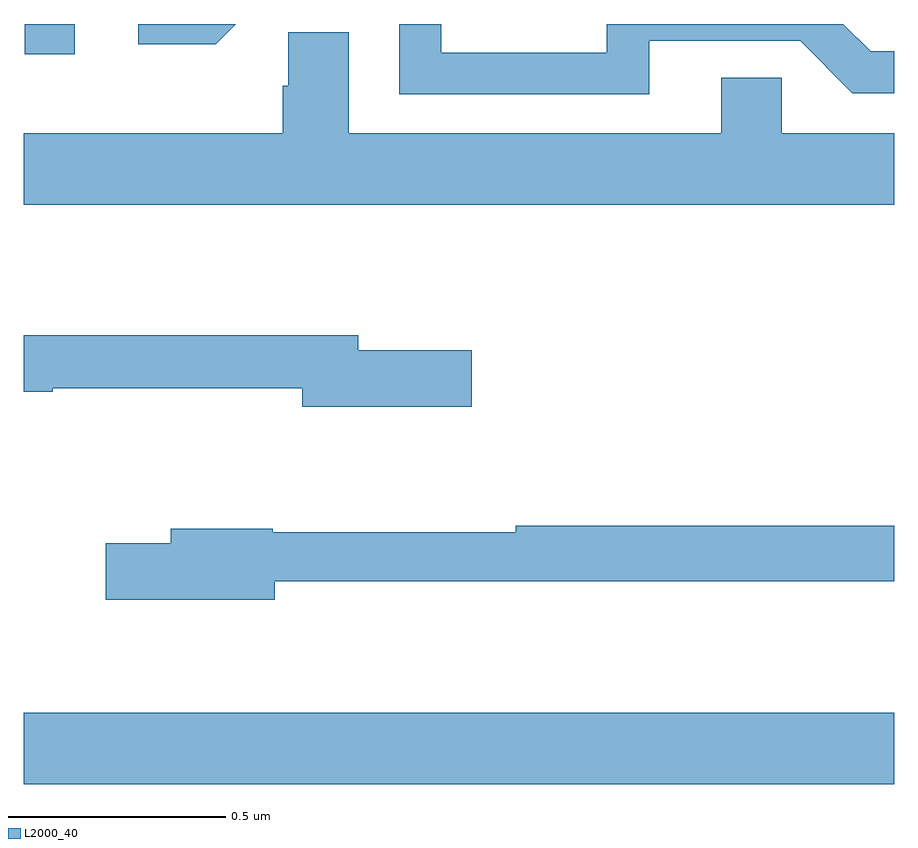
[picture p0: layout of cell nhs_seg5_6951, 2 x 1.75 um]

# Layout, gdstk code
import gdstk
lib = gdstk.Library(unit=1e-6, precision=1e-09)
def R(c, l, rs):  # rectangles x0, y0, x1, y1
    for r in rs: c.add(gdstk.rectangle(r[:2], r[2:], *l))
def P(c, l, *ps):  # polygons
    for p in ps: c.add(gdstk.Polygon(p, *l))
L2000_40 = (2000, 40)

nhs_seg5_6951 = lib.new_cell('nhs_seg5_6951')
R(nhs_seg5_6951, L2000_40, [(202,898.052,204,898.216), (202.002,899.73,202.117,899.799)])
P(nhs_seg5_6951, L2000_40, [(203.437,899.76),(203.784,899.76),(203.904,899.64),(204,899.64),(204,899.736),(203.946,899.736),(203.883,899.799),(203.34,899.799),(203.34,899.733),(202.959,899.733),(202.959,899.799),(202.863,899.799),(202.863,899.637),(203.437,899.637)],
  [(202.487,899.799),(202.263,899.799),(202.263,899.753),(202.441,899.753)],
  [(204,899.548),(203.742,899.548),(203.742,899.675),(203.603,899.675),(203.603,899.548),(202.747,899.548),(202.747,899.78),(202.608,899.78),(202.608,899.657),(202.595,899.657),(202.595,899.548),(202,899.548),(202,899.384),(204,899.384)],
  [(203.029,899.049),(202.768,899.049),(202.768,899.083),(202,899.083),(202,898.954),(202.066,898.954),(202.066,898.962),(202.64,898.962),(202.64,898.919),(203.029,898.919)],
  [(202.576,898.518),(204,898.518),(204,898.646),(203.131,898.646),(203.131,898.631),(202.572,898.631),(202.572,898.639),(202.337,898.639),(202.337,898.605),(202.188,898.605),(202.188,898.475),(202.576,898.475)])

lib.write_gds('nhs_seg5_6951.gds')
